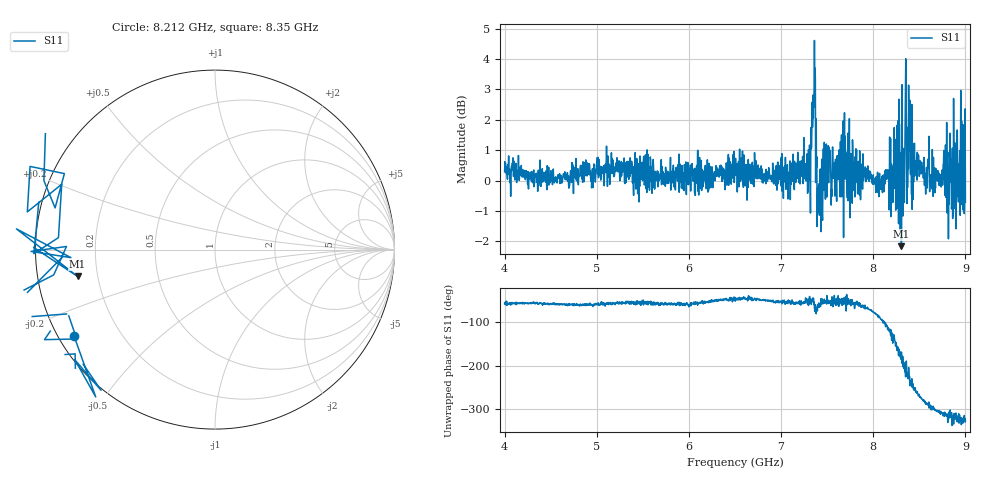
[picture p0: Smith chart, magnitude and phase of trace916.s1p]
! Created with skrf 1.8.0 (http://scikit-rf.org).
# Hz S RI R 50.0
!freq ReS11 ImS11
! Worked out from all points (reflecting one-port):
!   1601 points, 4 GHz to 9 GHz, reference 50 ohm
!   lowest |S11| = -2.2 dB at 8.306 GHz (marker M1), VSWR 8.10, Z = 6.23 - j4.75 ohm
!   phase of S11 starts at -57 deg and turns -270 deg over the sweep
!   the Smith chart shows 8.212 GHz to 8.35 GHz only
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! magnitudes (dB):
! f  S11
! 4 GHz  0.3
! 4.625 GHz  -0.1
! 5.25 GHz  0.0
! 5.875 GHz  0.0
! 6.5 GHz  0.5
! 7.125 GHz  0.2
! 7.297 GHz  1.0
! 7.347 GHz  2.8
! 7.362 GHz  4.6
! 7.412 GHz  -0.5
! 7.509 GHz  0.3
! 7.6 GHz  -0.3
! 7.669 GHz  1.0
! 7.75 GHz  -0.1
! 8.075 GHz  0.1
! 8.228 GHz  1.7
! 8.262 GHz  -0.9
! 8.306 GHz  -2.2
! 8.316 GHz  0.1
! 8.334 GHz  -0.5
! 8.375 GHz  0.3
! 8.391 GHz  1.2
! 8.447 GHz  1.2
! 8.638 GHz  -0.3
! 8.784 GHz  1.2
! 8.838 GHz  0.3
! 8.956 GHz  0.0
! 9 GHz  -0.7
